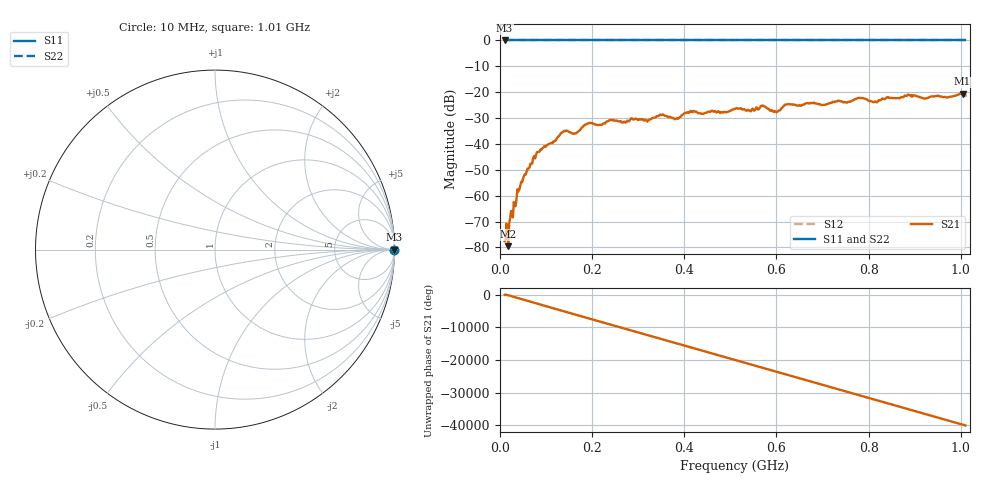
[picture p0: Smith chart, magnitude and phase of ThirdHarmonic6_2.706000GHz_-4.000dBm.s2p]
! 8/17/2025 6:30:28 AM
! C:\ANRITSUVNA\TEMP\TEMP.S2P
! CHANNEL.1
! TR.MEASUREMENT
! RAW.DATA
! RF.CORRECTION.OFF
! AVERAGING.OFF
! IF.BANDWIDTH: 5KHZ
! SWEEPTYPE:  FREQ.SWEEP(Linear)
! Reference Plane Port Info
! PORT:  PORT1  PORT2
! DISTANCE:  0  m  0  m
! TIME:  0  s  0  s
! PHASE.OFFSET:  0  deg.  0  deg.
! LOSS:  0  dB  0  dB
! REF.LOSS:  0  dB  0  dB
! REF.FREQ:  0  Hz  0  Hz
! Power Info
! POWER:  -20  dBm  -20  dBm
! EFF.POWER:  -20  dBm  -20  dBm
! SOURCE.ATTEN:  0  dB  0  dB
! TEST.ATTEN:  0  dB  0  dB
# GHZ S RI R 50.0
! FREQ.GHZ  S11RE  S11IM  S21RE  S21IM  S12RE  S12IM  S22RE  S22IM
!; PortSelection: Port_12
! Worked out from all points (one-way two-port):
!   501 points, 10 MHz to 1.01 GHz, reference 50 ohm
!   highest |S21| = -20.59 dB at 1.004 GHz (marker M1); lowest = -79.5 dB at 18 MHz (marker M2)
!   lowest |S11| = 0.0 dB at 10 MHz (marker M3)
!   |S11| at or under -10 dB: nowhere
!   |S22| runs from 0.0 to 0.0 dB; largest |S21 - S12| = 1.1
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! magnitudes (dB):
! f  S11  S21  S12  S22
! 10 MHz  0.0  -77.6  0.0  0.0
! 14 MHz  0.0  -70.8  0.0  0.0
! 18 MHz  0.0  -79.5  0.0  0.0
! 42 MHz  0.0  -57.6  0.0  0.0
! 76 MHz  0.0  -45.6  0.0  0.0
! 136 MHz  0.0  -35.5  0.0  0.0
! 162 MHz  0.0  -35.9  0.0  0.0
! 178 MHz  0.0  -33.6  0.0  0.0
! 196 MHz  0.0  -31.8  0.0  0.0
! 344 MHz  0.0  -29.3  0.0  0.0
! 382 MHz  0.0  -30.2  0.0  0.0
! 416 MHz  0.0  -27.6  0.0  0.0
! 510 MHz  0.0  -26.4  0.0  0.0
! 570 MHz  0.0  -25.1  0.0  0.0
! 598 MHz  0.0  -27.5  0.0  0.0
! 622 MHz  0.0  -24.7  0.0  0.0
! 678 MHz  0.0  -24.2  0.0  0.0
! 780 MHz  0.0  -22.2  0.0  0.0
! 814 MHz  0.0  -23.6  0.0  0.0
! 844 MHz  0.0  -22.1  0.0  0.0
! 1.004 GHz  0.0  -20.6  0.0  0.0
! 1.01 GHz  0.0  -21.3  0.0  0.0
